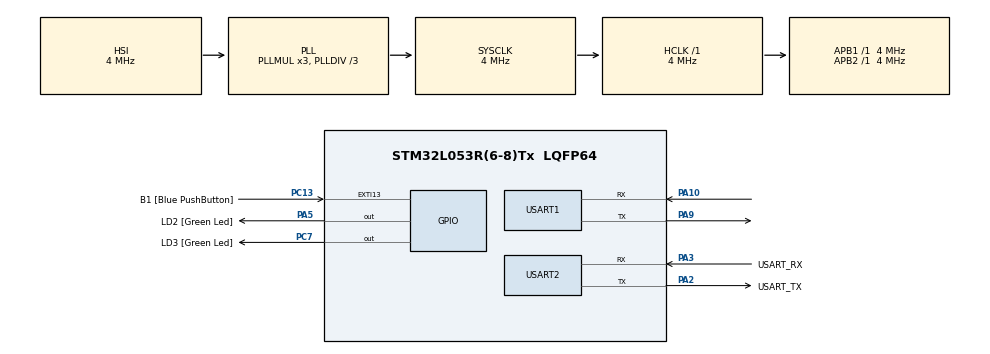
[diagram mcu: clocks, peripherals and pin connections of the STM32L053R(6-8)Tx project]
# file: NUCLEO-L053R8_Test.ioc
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Mcu.Family=STM32L0
Mcu.Name=STM32L053R(6-8)Tx
Mcu.Package=LQFP64
NVIC.EXTI4_15_IRQn=true\:0\:0\:false\:false\:true\:true\:true
NVIC.TIM21_IRQn=true\:0\:0\:false\:false\:true\:true\:true
NVIC.TIM2_IRQn=true\:0\:0\:false\:false\:true\:true\:true
NVIC.USART1_IRQn=true\:0\:0\:false\:false\:true\:true\:true
NVIC.USART2_IRQn=true\:0\:0\:false\:false\:true\:true\:true
PA10.Mode=Asynchronous
PA10.Signal=USART1_RX
PA13.GPIO_Label=TMS
PA13.Mode=Serial_Wire
PA13.Signal=SYS_SWDIO
PA14.GPIO_Label=TCK
PA14.Mode=Serial_Wire
PA14.Signal=SYS_SWCLK
PA2.GPIO_Label=USART_TX
PA2.Mode=Asynchronous
PA2.Signal=USART2_TX
PA3.GPIO_Label=USART_RX
PA3.Mode=Asynchronous
PA3.Signal=USART2_RX
PA5.GPIO_Label=LD2 [Green Led]
PA5.Signal=GPIO_Output
PA9.Mode=Asynchronous
PA9.Signal=USART1_TX
PC13.GPIO_Label=B1 [Blue PushButton]
PC13.GPIO_ModeDefaultEXTI=GPIO_MODE_IT_FALLING
PC13.Signal=GPXTI13
PC14-OSC32_IN.Mode=LSE-External-Oscillator
PC14-OSC32_IN.Signal=RCC_OSC32_IN
PC15-OSC32_OUT.Mode=LSE-External-Oscillator
PC15-OSC32_OUT.Signal=RCC_OSC32_OUT
PC7.GPIO_Label=LD3 [Green Led]
PC7.Signal=GPIO_Output
PH0-OSC_IN.Mode=HSE-External-Clock-Source
PH0-OSC_IN.Signal=RCC_OSC_IN
PH1-OSC_OUT.Signal=RCC_OSC_OUT
ProjectManager.HeapSize=0x200
ProjectManager.StackSize=0x400
ProjectManager.TargetToolchain=SW4STM32
RCC.ADCFreq_Value=4000000
RCC.AHBFreq_Value=4000000
RCC.APB1Freq_Value=4000000
RCC.APB1TimFreq_Value=4000000
RCC.APB2Freq_Value=4000000
RCC.APB2TimFreq_Value=4000000
RCC.HCLKFreq_Value=4000000
RCC.HSE_VALUE=8000000
RCC.HSI16_VALUE=16000000
RCC.HSI48_VALUE=48000000
RCC.HSIRCDiv=4
RCC.HSI_VALUE=4000000
RCC.MSI_VALUE=2097000
RCC.PLLDIV=RCC_PLLDIV_3
RCC.SYSCLKFreq_VALUE=4000000
RCC.SYSCLKSource=RCC_SYSCLKSOURCE_PLLCLK
RCC.VCOOutputFreq_Value=12000000
TIM2.AutoReloadPreload=TIM_AUTORELOAD_PRELOAD_ENABLE
TIM2.ClockDivision=TIM_CLOCKDIVISION_DIV1
TIM2.Period=2000
TIM2.Prescaler=3999
TIM21.Period=1000
TIM21.Prescaler=3999
USART1.VirtualMode-Asynchronous=VM_ASYNC
USART2.VirtualMode-Asynchronous=VM_ASYNC
VP_TIM21_VS_ClockSourceINT.Mode=Internal
VP_TIM2_VS_ClockSourceINT.Mode=Internal
board=NUCLEO-L053R8

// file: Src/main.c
/* USER CODE BEGIN Header */
/**
  ******************************************************************************
  * @file           : main.c
  * @brief          : Main program body
  ******************************************************************************
  * @attention
  *
  * <h2><center>&copy; Copyright (c) 2019 STMicroelectronics.
  * All rights reserved.</center></h2>
  *
  * This software component is licensed by ST under BSD 3-Clause license,
  * the "License"; You may not use this file except in compliance with the
  * License. You may obtain a copy of the License at:
  *                        opensource.org/licenses/BSD-3-Clause
  *
  ******************************************************************************
  */
/* USER CODE END Header */

#include "main.h"

/* USER CODE BEGIN Includes */
#include <string.h> // strlen
#include <stdlib.h>  // atoi
#include <stdio.h>  // sprintf
#include <math.h>   // sin\cos
/* USER CODE END Includes */

/* USER CODE BEGIN PTD */
typedef enum {
  DATA_FRAME_12 = 12,
  DATA_FRAME_9 = 9,
  DATA_FRAME_BOTH = 0,
  DATA_FRAME_INVALID
} eDATA_FRAME_t;

/* USER CODE END PTD */

/* USER CODE BEGIN PD */
#define TERMINAL_USART  USART2
#define DSPACE_USART  USART1

#define terminal_huart huart2
#define dspace_huart huart1

#define htim_1s    htim21
#define htim_2s    htim2
/* USER CODE END PD */

TIM_HandleTypeDef htim2;
TIM_HandleTypeDef htim21;

UART_HandleTypeDef huart1;
UART_HandleTypeDef huart2;

/* USER CODE BEGIN PV */
static char buffer[1000];
uint8_t buffer_tx[10]={69, 77, 67, 85, 46, 69, 85, 13, 10};
volatile uint8_t buffer_rx[3000];
uint8_t received_data, received_data_from_dspace;
volatile uint8_t received_buffer_size = 0;
volatile uint8_t command_handler_request = 0; // 0=NO, 1=Process

volatile int8_t led3_blink = -1;      // 0=OFF, 1=blink, 2=ON
volatile uint8_t dSpace_Alive = 1;    // =0, dSpace is alive, !=0, dSpace is disconnected
volatile uint8_t dSpace_req_data = 0; // =0, dSpace not request data, =1, dSpace requested for data

// Configuration - Variables
uint8_t b_encoder_1_enable = 1;
uint8_t b_encoder_2_enable = 1;
uint8_t b_encoder_3_enable = 1;
uint8_t b_mcu_dspace_enable = 0;
uint8_t b_mcu_pc_terminal_enable = 0;
uint8_t b_setting_mode = 0;
eDATA_FRAME_t data_frame_mcu2termial = DATA_FRAME_12;
int32_t b_frequency_ms = 0;

/* USER CODE END PV */

void SystemClock_Config(void);
static void MX_GPIO_Init(void);
static void MX_USART2_UART_Init(void);
static void MX_USART1_UART_Init(void);
static void MX_TIM2_Init(void);
static void MX_TIM21_Init(void);
/* USER CODE BEGIN PFP */

uint32_t Read_SSI_SPIx(int index);
uint32_t raw_data[3];              // Raw-Data of Encoders

int Cal_EncoderData(eDATA_FRAME_t data_frame, uint32_t raw_data[3],
		uint8_t *array_data, int32_t angle_data[3]);
uint8_t array_data[13];            // maximum 13-byte array of data
int32_t angle_data[3];             // angle in degree - scaled 1000x

void Generate_CRCTable();
uint8_t crc_table[256];            // CRC look-up table

uint8_t CRCChecksum(uint8_t *data, uint8_t data_len);
uint8_t CRC_Cal = 0;               // Computed CRC

/* USER CODE END PFP */

/* USER CODE BEGIN 0 */
// BUTTON Press Interrupt Handler
void HAL_GPIO_EXTI_Callback(uint16_t GPIO_Pin)
{
  if (GPIO_Pin == GPIO_PIN_13)
  {
    HAL_GPIO_TogglePin(LD2_GPIO_Port, LD2_Pin);

  }

}

// UART RECEIVE Complete Callback
void HAL_UART_RxCpltCallback(UART_HandleTypeDef *huart)
{
  // DSpace Connected UaRT
  if(huart->Instance == DSPACE_USART)
  {
	if (received_data_from_dspace == 'd') {
      dSpace_Alive = 0; // dSpace is alive!
      dSpace_req_data = 1;
      HAL_GPIO_WritePin(LD2_GPIO_Port, LD2_Pin, GPIO_PIN_SET);
	}
	if (received_data_from_dspace == 'n'){
	  dSpace_Alive = 3; // set to allow LED-2 blink
	  dSpace_req_data = 1;
	}
	HAL_UART_Receive_IT(&dspace_huart, &received_data_from_dspace, 1);
  }

  // PC-Terminal Connected UaRT
  if(huart->Instance == TERMINAL_USART)
  {
    if (received_buffer_size == 0){
      if (received_data == (uint8_t)'@'){
        buffer_rx[received_buffer_size] = received_data;
        received_buffer_size += 1;
        HAL_TIM_Base_Start_IT(&htim21); // start 1s-period timer

        command_handler_request = 0;
      }
      else {
        // do nothing
      }
    }
    else {
      if (received_data == (uint8_t)'#'){
        buffer_rx[received_buffer_size] = received_data;
        received_buffer_size += 1;

        HAL_TIM_Base_Stop_IT(&htim21); // stop timer
        command_handler_request = 1;
      }
      else {
        buffer_rx[received_buffer_size] = received_data;
        received_buffer_size += 1;
      }
    }
    HAL_UART_Receive_IT(&terminal_huart, &received_data, 1);
  }
}

void CommandDecoder();

// Command Handler
void Cmd_Handler(){
  uint8_t i = 0;
  if (command_handler_request > 0) {
    if (command_handler_request == 1 && received_buffer_size > 0){
      MY_PRINT_0(buffer, "Command RECEIVED: ");
    }

    // After 1-sec since the starting command '@' has been received, there is no '#' comming
    // in the 1-sec timeout handler, command_handler_request is set to 2.
    if (command_handler_request == 2 && received_buffer_size > 0){
      MY_PRINT_0(buffer, "BAD Command RECEIVED: ");
    }
    // a valid command received
    if (command_handler_request >= 1 && received_buffer_size > 0) {
      for (i = 0; i < received_buffer_size; i++){
        buffer[i] = buffer_rx[i];
      }
      buffer[received_buffer_size] = '\n';
      HAL_UART_Transmit(&terminal_huart, (uint8_t *) buffer, received_buffer_size + 1, 5000);

      // Command Decoder - SOlving here
      CommandDecoder();
    }

    // clear the buffer
    command_handler_request = 0;
    for (i = 0; i < received_buffer_size; i++){
        buffer_rx[i] = 0;
    }
    received_buffer_size = 0;
  }
}
/* USER CODE END 0 */

int main(void)
{
  /* USER CODE BEGIN 1 */
  int num_byte = -1;
  /* USER CODE END 1 */

  /* MCU Configuration--------------------------------------------------------*/

  /* Reset of all peripherals, Initializes the Flash interface and the Systick. */
  HAL_Init();

  /* Configure the system clock */
  SystemClock_Config();

  /* Initialize all configured peripherals */
  MX_GPIO_Init();
  MX_USART2_UART_Init();
  MX_USART1_UART_Init();
  MX_TIM2_Init();
  MX_TIM21_Init();
  /* USER CODE BEGIN 2 */

  // Initialize UART-2 REceive Complete Interrupt with 1-byte buffer
  HAL_UART_Receive_IT(&terminal_huart, &received_data, 1);

  HAL_UART_Receive_IT(&dspace_huart, &received_data_from_dspace, 1);

  // Initialize UART-2 Transmit Complete Interrupt with 10-byte buffer
  HAL_UART_Transmit_IT(&terminal_huart, buffer_tx, 10);

  /* USER CODE END 2 */

  /* Infinite loop */
  /* USER CODE BEGIN WHILE */
  HAL_TIM_Base_Start_IT(&htim_2s); // 2s-period timer start

  while (1)
  {
    /* USER CODE END WHILE */

    /* USER CODE BEGIN 3 */
	  if (b_frequency_ms > 0)
	             HAL_Delay(b_frequency_ms);
    Cmd_Handler();

    // Read raw-data from encoders
    if (b_mcu_dspace_enable == 1 || b_mcu_pc_terminal_enable == 1){
      if (b_encoder_1_enable == 1)
        raw_data[0] = Read_SSI_SPIx(0);
      if (b_encoder_2_enable == 1)
        raw_data[1] = Read_SSI_SPIx(1);
      if (b_encoder_3_enable == 1)
        raw_data[2] = Read_SSI_SPIx(2);
    }

    // Prepare data and send to Terminal
    if (b_setting_mode == 0 && b_mcu_pc_terminal_enable == 1){
      // convert encoder-data into an array bytes of data
      num_byte = Cal_EncoderData(data_frame_mcu2termial, raw_data,
			  array_data, angle_data);
      if (num_byte > 0)
      {
    	// Compute CRC code
        CRC_Cal = CRCChecksum(array_data, num_byte);

        // Save the computed CRC into the last element of the array
        array_data[num_byte] = CRC_Cal;

        // Increase the size of the array
        num_byte += 1;

        // Now send the array to Terminal
        HAL_UART_Transmit(&terminal_huart, array_data, num_byte, 5000);
       }

    }

    // Prepare data and transmit to DSpace
    if (dSpace_req_data == 1 && b_mcu_dspace_enable == 1){
      // convert encoder-data into an array bytes of data
      num_byte = Cal_EncoderData(DATA_FRAME_9, raw_data, array_data, angle_data);

      if (num_byte > 0)
      {
        // Compute CRC code
        CRC_Cal = CRCChecksum(array_data, num_byte);

        // Save the computed CRC into the last element of the array
        array_data[num_byte ] = CRC_Cal;

        // Increase the size of the array
        num_byte += 1;

        // Now send the array to dSpace
        HAL_UART_Transmit(&dspace_huart, array_data, num_byte, 5000);
      }

      dSpace_req_data = 0;
    }
  }
  /* USER CODE END 3 */
}

void SystemClock_Config(void)
{
  RCC_OscInitTypeDef RCC_OscInitStruct = {0};
  RCC_ClkInitTypeDef RCC_ClkInitStruct = {0};
  RCC_PeriphCLKInitTypeDef PeriphClkInit = {0};

  /** Configure the main internal regulator output voltage
  */
  __HAL_PWR_VOLTAGESCALING_CONFIG(PWR_REGULATOR_VOLTAGE_SCALE1);
  /** Initializes the CPU, AHB and APB busses clocks
  */
  RCC_OscInitStruct.OscillatorType = RCC_OSCILLATORTYPE_HSI;
  RCC_OscInitStruct.HSIState = RCC_HSI_DIV4;
  RCC_OscInitStruct.HSICalibrationValue = RCC_HSICALIBRATION_DEFAULT;
  RCC_OscInitStruct.PLL.PLLState = RCC_PLL_ON;
  RCC_OscInitStruct.PLL.PLLSource = RCC_PLLSOURCE_HSI;
  RCC_OscInitStruct.PLL.PLLMUL = RCC_PLLMUL_3;
  RCC_OscInitStruct.PLL.PLLDIV = RCC_PLLDIV_3;
  if (HAL_RCC_OscConfig(&RCC_OscInitStruct) != HAL_OK)
  {
    Error_Handler();
  }
  /** Initializes the CPU, AHB and APB busses clocks
  */
  RCC_ClkInitStruct.ClockType = RCC_CLOCKTYPE_HCLK|RCC_CLOCKTYPE_SYSCLK
                              |RCC_CLOCKTYPE_PCLK1|RCC_CLOCKTYPE_PCLK2;
  RCC_ClkInitStruct.SYSCLKSource = RCC_SYSCLKSOURCE_PLLCLK;
  RCC_ClkInitStruct.AHBCLKDivider = RCC_SYSCLK_DIV1;
  RCC_ClkInitStruct.APB1CLKDivider = RCC_HCLK_DIV1;
  RCC_ClkInitStruct.APB2CLKDivider = RCC_HCLK_DIV1;

  if (HAL_RCC_ClockConfig(&RCC_ClkInitStruct, FLASH_LATENCY_0) != HAL_OK)
  {
    Error_Handler();
  }
  PeriphClkInit.PeriphClockSelection = RCC_PERIPHCLK_USART1|RCC_PERIPHCLK_USART2;
  PeriphClkInit.Usart1ClockSelection = RCC_USART1CLKSOURCE_PCLK2;
  PeriphClkInit.Usart2ClockSelection = RCC_USART2CLKSOURCE_PCLK1;
  if (HAL_RCCEx_PeriphCLKConfig(&PeriphClkInit) != HAL_OK)
  {
    Error_Handler();
  }
}

static void MX_TIM2_Init(void)
{

  TIM_ClockConfigTypeDef sClockSourceConfig = {0};
  TIM_MasterConfigTypeDef sMasterConfig = {0};

  htim2.Instance = TIM2;
  htim2.Init.Prescaler = 3999;
  htim2.Init.CounterMode = TIM_COUNTERMODE_UP;
  htim2.Init.Period = 2000;
  htim2.Init.ClockDivision = TIM_CLOCKDIVISION_DIV1;
  htim2.Init.AutoReloadPreload = TIM_AUTORELOAD_PRELOAD_ENABLE;
  if (HAL_TIM_Base_Init(&htim2) != HAL_OK)
  {
    Error_Handler();
  }
  sClockSourceConfig.ClockSource = TIM_CLOCKSOURCE_INTERNAL;
  if (HAL_TIM_ConfigClockSource(&htim2, &sClockSourceConfig) != HAL_OK)
  {
    Error_Handler();
  }
  sMasterConfig.MasterOutputTrigger = TIM_TRGO_RESET;
  sMasterConfig.MasterSlaveMode = TIM_MASTERSLAVEMODE_DISABLE;
  if (HAL_TIMEx_MasterConfigSynchronization(&htim2, &sMasterConfig) != HAL_OK)
  {
    Error_Handler();
  }

}

static void MX_TIM21_Init(void)
{

  TIM_ClockConfigTypeDef sClockSourceConfig = {0};
  TIM_MasterConfigTypeDef sMasterConfig = {0};

  htim21.Instance = TIM21;
  htim21.Init.Prescaler = 3999;
  htim21.Init.CounterMode = TIM_COUNTERMODE_UP;
  htim21.Init.Period = 1000;
  htim21.Init.ClockDivision = TIM_CLOCKDIVISION_DIV1;
  htim21.Init.AutoReloadPreload = TIM_AUTORELOAD_PRELOAD_DISABLE;
  if (HAL_TIM_Base_Init(&htim21) != HAL_OK)
  {
    Error_Handler();
  }
  sClockSourceConfig.ClockSource = TIM_CLOCKSOURCE_INTERNAL;
  if (HAL_TIM_ConfigClockSource(&htim21, &sClockSourceConfig) != HAL_OK)
  {
    Error_Handler();
  }
  sMasterConfig.MasterOutputTrigger = TIM_TRGO_RESET;
  sMasterConfig.MasterSlaveMode = TIM_MASTERSLAVEMODE_DISABLE;
  if (HAL_TIMEx_MasterConfigSynchronization(&htim21, &sMasterConfig) != HAL_OK)
  {
    Error_Handler();
  }

}

static void MX_USART1_UART_Init(void)
{

  huart1.Instance = USART1;
  huart1.Init.BaudRate = 115200;
  huart1.Init.WordLength = UART_WORDLENGTH_8B;
  huart1.Init.StopBits = UART_STOPBITS_1;
  huart1.Init.Parity = UART_PARITY_NONE;
  huart1.Init.Mode = UART_MODE_TX_RX;
  huart1.Init.HwFlowCtl = UART_HWCONTROL_NONE;
  huart1.Init.OverSampling = UART_OVERSAMPLING_16;
  huart1.Init.OneBitSampling = UART_ONE_BIT_SAMPLE_DISABLE;
  huart1.AdvancedInit.AdvFeatureInit = UART_ADVFEATURE_NO_INIT;
  if (HAL_UART_Init(&huart1) != HAL_OK)
  {
    Error_Handler();
  }

}

static void MX_USART2_UART_Init(void)
{

  huart2.Instance = USART2;
  huart2.Init.BaudRate = 115200;
  huart2.Init.WordLength = UART_WORDLENGTH_8B;
  huart2.Init.StopBits = UART_STOPBITS_1;
  huart2.Init.Parity = UART_PARITY_NONE;
  huart2.Init.Mode = UART_MODE_TX_RX;
  huart2.Init.HwFlowCtl = UART_HWCONTROL_NONE;
  huart2.Init.OverSampling = UART_OVERSAMPLING_16;
  huart2.Init.OneBitSampling = UART_ONE_BIT_SAMPLE_DISABLE;
  huart2.AdvancedInit.AdvFeatureInit = UART_ADVFEATURE_NO_INIT;
  if (HAL_UART_Init(&huart2) != HAL_OK)
  {
    Error_Handler();
  }

}

static void MX_GPIO_Init(void)
{
  GPIO_InitTypeDef GPIO_InitStruct = {0};

  /* GPIO Ports Clock Enable */
  __HAL_RCC_GPIOC_CLK_ENABLE();
  __HAL_RCC_GPIOH_CLK_ENABLE();
  __HAL_RCC_GPIOA_CLK_ENABLE();

  /*Configure GPIO pin Output Level */
  HAL_GPIO_WritePin(LD2_GPIO_Port, LD2_Pin, GPIO_PIN_RESET);

  /*Configure GPIO pin Output Level */
  HAL_GPIO_WritePin(LD3_GPIO_Port, LD3_Pin, GPIO_PIN_RESET);

  /*Configure GPIO pin : B1_Pin */
  GPIO_InitStruct.Pin = B1_Pin;
  GPIO_InitStruct.Mode = GPIO_MODE_IT_FALLING;
  GPIO_InitStruct.Pull = GPIO_NOPULL;
  HAL_GPIO_Init(B1_GPIO_Port, &GPIO_InitStruct);

  /*Configure GPIO pin : LD2_Pin */
  GPIO_InitStruct.Pin = LD2_Pin;
  GPIO_InitStruct.Mode = GPIO_MODE_OUTPUT_PP;
  GPIO_InitStruct.Pull = GPIO_NOPULL;
  GPIO_InitStruct.Speed = GPIO_SPEED_FREQ_LOW;
  HAL_GPIO_Init(LD2_GPIO_Port, &GPIO_InitStruct);

  /*Configure GPIO pin : LD3_Pin */
  GPIO_InitStruct.Pin = LD3_Pin;
  GPIO_InitStruct.Mode = GPIO_MODE_OUTPUT_PP;
  GPIO_InitStruct.Pull = GPIO_NOPULL;
  GPIO_InitStruct.Speed = GPIO_SPEED_FREQ_LOW;
  HAL_GPIO_Init(LD3_GPIO_Port, &GPIO_InitStruct);

  /* EXTI interrupt init*/
  HAL_NVIC_SetPriority(EXTI4_15_IRQn, 0, 0);
  HAL_NVIC_EnableIRQ(EXTI4_15_IRQn);

}

/* USER CODE BEGIN 4 */
uint32_t Read_SSI_SPIx(int index) {
  uint32_t data1 = 0;
  return data1;
}

/**
  * @brief GPIO Initialization Function
  * @param [IN] eDATA_FRAME_t: data_frame (DATA_FRAME)
  * @param [IN] uint32_t raw_data[3]: raw-data of encoders
  * @param [OUT] uint8_t *array_data (not including CRC)
  * @param [OUT] int32_t angle_data[3]
  * @retval int: # of bytes returned
  */
int Cal_EncoderData(eDATA_FRAME_t data_frame, uint32_t raw_data[3], uint8_t *array_data, int32_t angle_data[3])
{
  uint32_t enc_data[3];              // Encoder Data either RAW-DATA or ANGLE-DATA
  int idx = 0, i;
  uint32_t scale = 1000;
  uint32_t value;
  float convert_factor = 360.0f * scale / MAX_VALUE_19_BIT;

  switch (data_frame){
    case DATA_FRAME_12:
      for (idx = 0; idx < 3; idx++)
      {
        value = raw_data[idx] & (uint32_t)0x007FFFF0;
        value = value / 16;         // last bit is ERROR bit, value >>= 4
        //enc_data[idx] = value;
        enc_data[idx] = (uint32_t)(value * convert_factor);
      }
      break;
    case DATA_FRAME_9:
      for (idx = 0; idx < 3; idx++)
      {
        enc_data[idx] = raw_data[idx];
      }
      break;
  default:
    return -1;
  }
  idx = 0;

  for (i = 0; i < 3; i++){
    array_data[idx++] = (uint8_t)(enc_data[i] & 0xFF);                   // 1st byte
    array_data[idx++] = (uint8_t)((uint32_t)(enc_data[i]>>8) & 0xFF);    // 2nd byte
    array_data[idx++] = (uint8_t)((uint32_t)(enc_data[i]>>16) & 0xFF);   // 3rd byte
    if (data_frame == DATA_FRAME_12)
      array_data[idx++] = (uint8_t)((uint32_t)(enc_data[i]>>24) & 0xFF); // 4th byte
  }

  return idx;
}

// Generate CRC Checksum Table
// Source: http://www.sunshine2k.de/articles/coding/crc/understanding_crc.html
void Generate_CRCTable() {
  const uint8_t generator = 0x1D;
  uint8_t currentByte;
  for (int divident = 0; divident < 256; divident++) {
    currentByte = (uint8_t) divident;
    // calculate the CRC-8 value for current byte
    for (uint8_t bit = 0; bit < 8; bit++) {
      if ((currentByte & 0x80) != 0) { // 0x80 = 0b10000000
        currentByte <<= 1;           // Shift-to-left 1 bit
        currentByte ^= generator;    // XOR
      }
      else {
        currentByte <<= 1;           // Shift-to-left 1 bit
      }
    }
    // store CRC value in lookup table
    crc_table[divident] = currentByte;
  }
  crc_table[0] = 1;
}

uint8_t CRCChecksum(uint8_t *data, uint8_t data_len){
  uint8_t crc = 0xAB; // CRC_0
  uint8_t tmp;
  for (int i = 0; i < (int)data_len; i++) {
    tmp = data[i] ^ crc;
    crc = crc_table[tmp];
  }

  return crc;
}

void CommandDecoder()
{
  // Decode the command
  uint8_t cmd_grp = buffer_rx[1];
  uint8_t data_len = buffer_rx[2];
  char data_buff[256];
  uint8_t cmd_sub = 0xFF;
  if (data_len >= 1){
    cmd_sub = buffer_rx[3];
  }
  switch (cmd_grp){
    ////////////////////////////////////////////////////////////////////////////////////
    case '0':
      if (cmd_sub == '0'){ // setting-menu
        MY_PRINT_0(buffer, "@010# : Setting - Mode\n");
        MY_PRINT_0(buffer, "@011# : Running - Mode\n");
        MY_PRINT_0(buffer, "@111# : Turn ON Encoder 1\n");
        MY_PRINT_0(buffer, "@110# : Turn OFF Encoder 1\n");
        MY_PRINT_0(buffer, "@211# : Turn ON Encoder 2\n");
        MY_PRINT_0(buffer, "@210# : Turn OFF Encoder 2\n");
        MY_PRINT_0(buffer, "@311# : Turn ON Encoder 3\n");
        MY_PRINT_0(buffer, "@310# : Turn OFF Encoder 3\n");
        MY_PRINT_0(buffer, "@410# : MCU Sends RAW_DATA to TERMINAL\n");
        MY_PRINT_0(buffer, "@411# : MCU Sends ANGLE_DATA to TERMINAL\n");
        MY_PRINT_0(buffer, "@73100# : Set frequency of 100ms\n");
        MY_PRINT_0(buffer, "@810# : Update Encoders to TERMINAL\n");
        MY_PRINT_0(buffer, "@811# : Stop Updating to TERMINAL\n");
        MY_PRINT_0(buffer, "@910# : Update Encoders to DSpace\n");
        MY_PRINT_0(buffer, "@911# : Stop Updating Encoders to DSpace\n");
        b_setting_mode = 1;
        led3_blink = 1;
      }
      else if (cmd_sub == '1') { // Enter running mode
    	MY_PRINT_0(buffer, "Enter Running Mode\n");
        b_setting_mode = 0;
        if (b_mcu_pc_terminal_enable == 1){ // LED3 is ON!
          HAL_GPIO_WritePin(LD3_GPIO_Port, LD3_Pin, GPIO_PIN_SET);
          led3_blink = 2;
        }
        else { // LED3 is OFF!
          HAL_GPIO_WritePin(LD3_GPIO_Port, LD3_Pin, GPIO_PIN_RESET);
          led3_blink = 0;
        }
      }
      else {
    	MY_PRINT_F(buffer, "Invalid Command CMD_GRP(%c), CMD_SUB(%c)\n", cmd_grp, cmd_sub);
      }
      break;
    ////////////////////////////////////////////////////////////////////////////////////
    case '1':              // Encoder -1
      if (cmd_sub == '1'){ // turn on
    	MY_PRINT_0(buffer, "TURN-ON Encoder-1\n");
        b_encoder_1_enable = 1;
      }
      else if (cmd_sub == '0'){ // turn off
        MY_PRINT_0(buffer, "TURN-OFF Encoder-1\n");
        b_encoder_1_enable = 0;
      }
      else {
    	MY_PRINT_F(buffer, "Invalid Command CMD_GRP(%c), CMD_SUB(%c)\n", cmd_grp, cmd_sub);
      }
      break;
    ////////////////////////////////////////////////////////////////////////////////////
    case '2':              // Encoder -2
      if (cmd_sub == '1'){ // turn on
        MY_PRINT_0(buffer, "TURN-ON Encoder-2\n");
        b_encoder_2_enable = 1;
      }
      else if (cmd_sub == '0'){ // turn off
        MY_PRINT_0(buffer, "TURN-OFF Encoder-2\n");
        b_encoder_2_enable = 0;
      }
      else {
    	MY_PRINT_F(buffer, "Invalid Command CMD_GRP(%c), CMD_SUB(%c)\n", cmd_grp, cmd_sub);
      }
      break;
    ////////////////////////////////////////////////////////////////////////////////////
    case '3':              // Encoder -3
      if (cmd_sub == '1'){ // turn on
    	MY_PRINT_0(buffer, "TURN-ON Encoder-3\n");
        b_encoder_3_enable = 1;
      }
      else if (cmd_sub == '0'){ // turn off
    	MY_PRINT_0(buffer, "TURN-OFF Encoder-3\n");
        b_encoder_3_enable = 0;
      }
      else {
    	MY_PRINT_F(buffer, "Invalid Command CMD_GRP(%c), CMD_SUB(%c)\n", cmd_grp, cmd_sub);
      }
      break;
    ////////////////////////////////////////////////////////////////////////////////////
    case '4':              // DATA Format
      if (cmd_sub == '0')  { // MCU sends RAW-Data to Terminal
    	MY_PRINT_0(buffer, "MCU sends RAW-Data to Terminal\n");
        data_frame_mcu2termial = DATA_FRAME_9;
      }
      else if (cmd_sub == '1')  { // MCU sends ANGLE-Data to Terminal
    	MY_PRINT_0(buffer, "MCU sends ANGLE-Data to Terminal\n");
        data_frame_mcu2termial = DATA_FRAME_12;
      }
      else {
    	MY_PRINT_F(buffer, "Invalid Command CMD_GRP(%c), CMD_SUB(%c)\n", cmd_grp, cmd_sub);
        data_frame_mcu2termial = DATA_FRAME_INVALID;
      }
      break;
    ////////////////////////////////////////////////////////////////////////////////////
    case '7': // Frequency
      if (data_len <= '9' && data_len >= '0'){ //  maximum of 4-byte frequency
        for (int i = 0; i < data_len - '0'; i++){
        	data_buff[i] = buffer_rx[3+i];
        }
        data_buff[data_len - '0'] = '\0';
        b_frequency_ms = atoi(data_buff);
        MY_PRINT_F(buffer, "Frequency is set to %ld (ms)\n", b_frequency_ms);
      }
      else {
    	MY_PRINT_F(buffer, "Invalid Command CMD_GRP(%c), data_len(%c)\n", cmd_grp, data_len);
      }
      break;
    ////////////////////////////////////////////////////////////////////////////////////
    case '8': // Update Encoders to Terminal
      if (cmd_sub == '1'){ // Encoder Data is sent to Terminal
        b_mcu_pc_terminal_enable = 1;
        MY_PRINT_0(buffer, "Update Encoders to Terminal\n");
      }
      else if (cmd_sub == '0') {
        b_mcu_pc_terminal_enable = 0;
        MY_PRINT_0(buffer, "Stop Updating Encoders to Terminal\n");
      }
      else {
        MY_PRINT_F(buffer, "Invalid Command CMD_GRP(%c), CMD_SUB(%c)\n", cmd_grp, cmd_sub);
      }
      break;
    ////////////////////////////////////////////////////////////////////////////////////
    case '9': // Update Encoders to DSpace
      if (cmd_sub == '1'){ // Encoder Data is sent to Dspace
        b_mcu_dspace_enable = 1;
        MY_PRINT_0(buffer, "Update Encoders to DSpace\n");
      }
      else if (cmd_sub == '0') {
        b_mcu_dspace_enable = 0;
        MY_PRINT_0(buffer, "Stop Updating Encoders to DSpace\n");
      }
      else {
    	MY_PRINT_F(buffer, "Invalid Command CMD_GRP(%c), CMD_SUB(%c)\n", cmd_grp, cmd_sub);
      }
      break;
    ////////////////////////////////////////////////////////////////////////////////////
    default:
    	MY_PRINT_F(buffer, "Invalid Command CMD_GRP(%c)\n", cmd_grp);
      break;
  }
}

/* USER CODE END 4 */

void Error_Handler(void)
{
}

/************************ (C) COPYRIGHT STMicroelectronics *****END OF FILE****/
